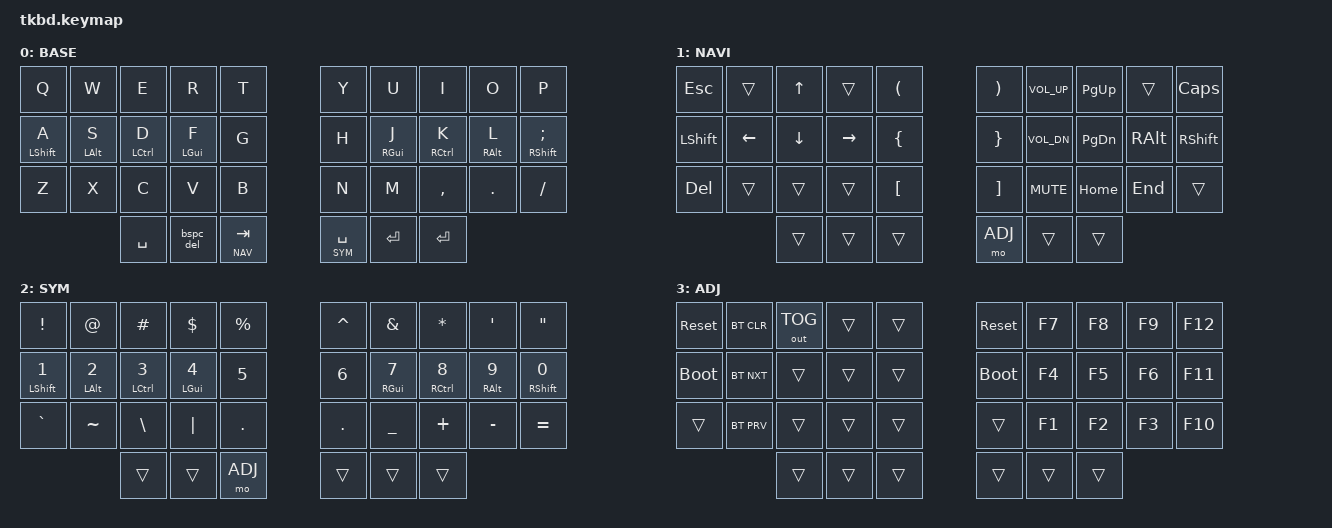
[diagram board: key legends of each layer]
#include <behaviors.dtsi>
#include <dt-bindings/zmk/keys.h>
#include <dt-bindings/zmk/bt.h>
#include <dt-bindings/zmk/outputs.h>

#define BASE 0
#define NAV  1
#define SYM  2
#define ADJ  3

&mt {
  flavor = "balanced";
};

/ {
    combos {
            compatible = "zmk,combos";
            combo_esc {
                timeout-ms = <50>;
                key-positions = <0 1>;
                bindings = <&kp ESC>;
            };
    };

    behaviors {
        bspc_del: backspace_delete {
            compatible = "zmk,behavior-mod-morph";
            #binding-cells = <0>;
            bindings = <&kp BACKSPACE>, <&kp DELETE>;
            mods = <(MOD_LSFT|MOD_RSFT)>;
        };
    };

        keymap {
                compatible = "zmk,keymap";
// ▄▄▄▄▄▄▄▄▄▄▄▄▄▄▄▄▄▄▄▄▄▄▄▄▄▄▄▄▄▄▄▄▄▄▄▄▄▄▄▄▄▄▄▄▄▄▄▄▄▄▄▄▄▄▄▄▄▄▄▄▄▄▄▄▄▄▄▄▄▄▄▄▄▄▄▄▄▄▄▄▄▄▄▄▄▄▄▄▄▄▄▄▄▄▄▄▄▄▄▄▄▄▄▄▄▄▄▄▄▄▄▄▄▄▄▄▄▄▄▄▄▄▄▄▄▄▄▄▄▄▄▄▄▄▄▄▄▄▄▄▄▄▄▄▄▄▄▄▄

                base_layer {
// ┏━━━━━━━━━━━━━━━━━━━━━━━━━━━━━━━━━━━━━━━┓
label= "BASE"                              ;
// ┗━━━━━━━━━━━━━━━━━━━━━━━━━━━━━━━━━━━━━━━┛
// ┏━━━━━━━━━━━┳━━━━━━━━━━━┳━━━━━━━━━━━┳━━━━━━━━━━━┳━━━━━━━━━━━┓   ┏━━━━━━━━━━━┳━━━━━━━━━━━┳━━━━━━━━━━━┳━━━━━━━━━━━┳━━━━━━━━━━━┓
// ┃     Q     ┃     W     ┃     E     ┃     R     ┃     T     ┃   ┃     Y     ┃     U     ┃     I     ┃     O     ┃     P     ┃
// ┣━━━━━━━━━━━╋━━━━━━━━━━━╋━━━━━━━━━━━╋━━━━━━━━━━━╋━━━━━━━━━━━┫   ┣━━━━━━━━━━━╋━━━━━━━━━━━╋━━━━━━━━━━━╋━━━━━━━━━━━╋━━━━━━━━━━━┫
// ┃     A     ┃     S     ┃     D     ┃     F     ┃     G     ┃   ┃     H     ┃     J     ┃     K     ┃     L     ┃     ;  :  ┃
// ┣━━━━━━━━━━━╋━━━━━━━━━━━╋━━━━━━━━━━━╋━━━━━━━━━━━╋━━━━━━━━━━━┫   ┣━━━━━━━━━━━╋━━━━━━━━━━━╋━━━━━━━━━━━╋━━━━━━━━━━━╋━━━━━━━━━━━┫
// ┃     Z     ┃     X     ┃     C     ┃     V     ┃     B     ┃   ┃     N     ┃     M     ┃     , <   ┃     . >   ┃     /  ?  ┃
// ┗━━━━━━━━━━━┻━━━━━━━━━━━╋━━━━━━━━━━━╋━━━━━━━━━━━╋━━━━━━━━━━━┫   ┣━━━━━━━━━━━╋━━━━━━━━━━━╋━━━━━━━━━━━╋━━━━━━━━━━━┻━━━━━━━━━━━┛
//                         ┃    SPC    ┃    BSPC   ┃    TAB    ┃   ┃    SPC    ┃   ENTER   ┃   ENTER   ┃
//                         ┗━━━━━━━━━━━┻━━━━━━━━━━━┻━━━━━━━━━━━┛   ┗━━━━━━━━━━━┻━━━━━━━━━━━┻━━━━━━━━━━━┛

 bindings = <
    &kp Q       &kp W       &kp E       &kp R       &kp T           &kp Y       &kp U       &kp I       &kp O       &kp P
    &mt LSHFT A &mt LALT S  &mt LCTRL D &mt LGUI F  &kp G           &kp H       &mt RGUI J  &mt RCTRL K &mt RALT L  &mt RSHFT SEMI
    &kp Z       &kp X       &kp C       &kp V       &kp B           &kp N       &kp M       &kp COMMA   &kp DOT     &kp FSLH   
                            &kp SPACE   &bspc_del   &lt NAV TAB   &lt SYM SPACE &kp RET     &kp RET
            >;
    };

// ▄▄▄▄▄▄▄▄▄▄▄▄▄▄▄▄▄▄▄▄▄▄▄▄▄▄▄▄▄▄▄▄▄▄▄▄▄▄▄▄▄▄▄▄▄▄▄▄▄▄▄▄▄▄▄▄▄▄▄▄▄▄▄▄▄▄▄▄▄▄▄▄▄▄▄▄▄▄▄▄▄▄▄▄▄▄▄▄▄▄▄▄▄▄▄▄▄▄▄▄▄▄▄▄▄▄▄▄▄▄▄▄▄▄▄▄▄▄▄▄▄▄▄▄▄▄▄▄▄▄▄▄▄▄▄▄▄▄▄▄▄▄▄▄▄▄▄▄▄


                nav_layer {
// ┏━━━━━━━━━━━━━━━━━━━━━━━━━━━━━━━━━━━━━━━┓
label= "NAVI"                              ;
// ┗━━━━━━━━━━━━━━━━━━━━━━━━━━━━━━━━━━━━━━━┛
// ┏━━━━━━━━━━━┳━━━━━━━━━━━┳━━━━━━━━━━━┳━━━━━━━━━━━┳━━━━━━━━━━━┓   ┏━━━━━━━━━━━┳━━━━━━━━━━━┳━━━━━━━━━━━┳━━━━━━━━━━━┳━━━━━━━━━━━┓
// ┃    ESC    ┃           ┃     UP    ┃           ┃     (     ┃   ┃     )     ┃   VOL+    ┃   P UP    ┃           ┃   C LOCK  ┃
// ┣━━━━━━━━━━━╋━━━━━━━━━━━╋━━━━━━━━━━━╋━━━━━━━━━━━╋━━━━━━━━━━━┫   ┣━━━━━━━━━━━╋━━━━━━━━━━━╋━━━━━━━━━━━╋━━━━━━━━━━━╋━━━━━━━━━━━┫
// ┃   SHIFT   ┃    LEFT   ┃    DOWN   ┃   RIGHT   ┃     {     ┃   ┃     }     ┃   VOL-    ┃  P DOWN   ┃    ALT    ┃   SHIFT   ┃
// ┣━━━━━━━━━━━╋━━━━━━━━━━━╋━━━━━━━━━━━╋━━━━━━━━━━━╋━━━━━━━━━━━┫   ┣━━━━━━━━━━━╋━━━━━━━━━━━╋━━━━━━━━━━━╋━━━━━━━━━━━╋━━━━━━━━━━━┫
// ┃    DEL    ┃           ┃           ┃           ┃     [     ┃   ┃     ]     ┃   MUTE    ┃   HOME    ┃    END    ┃           ┃
// ┗━━━━━━━━━━━┻━━━━━━━━━━━╋━━━━━━━━━━━╋━━━━━━━━━━━╋━━━━━━━━━━━┫   ┣━━━━━━━━━━━╋━━━━━━━━━━━╋━━━━━━━━━━━╋━━━━━━━━━━━┻━━━━━━━━━━━┛
//                         ┃    SPC    ┃   BSPC    ┃           ┃   ┃    ADJ    ┃           ┃           ┃
//                         ┗━━━━━━━━━━━┻━━━━━━━━━━━┻━━━━━━━━━━━┛   ┗━━━━━━━━━━━┻━━━━━━━━━━━┻━━━━━━━━━━━┛
 bindings = <
    &kp ESC     &trans      &kp UP      &trans      &kp LPAR        &kp RPAR   &kp C_VOL_UP &kp PG_UP   &trans      &kp CAPS
    &kp LSHFT   &kp LEFT    &kp DOWN    &kp RIGHT   &kp LBRC        &kp RBRC   &kp C_VOL_DN &kp PG_DN   &kp RALT    &kp RSHFT
    &kp DEL     &trans      &trans      &trans      &kp LBKT        &kp RBKT    &kp C_MUTE  &kp HOME    &kp END     &trans
                            &trans      &trans      &trans          &mo ADJ     &trans      &trans       
            >;
    };

// ▄▄▄▄▄▄▄▄▄▄▄▄▄▄▄▄▄▄▄▄▄▄▄▄▄▄▄▄▄▄▄▄▄▄▄▄▄▄▄▄▄▄▄▄▄▄▄▄▄▄▄▄▄▄▄▄▄▄▄▄▄▄▄▄▄▄▄▄▄▄▄▄▄▄▄▄▄▄▄▄▄▄▄▄▄▄▄▄▄▄▄▄▄▄▄▄▄▄▄▄▄▄▄▄▄▄▄▄▄▄▄▄▄▄▄▄▄▄▄▄▄▄▄▄▄▄▄▄▄▄▄▄▄▄▄▄▄▄▄▄▄▄▄▄▄▄▄▄▄


                sim_layer {
// ┏━━━━━━━━━━━━━━━━━━━━━━━━━━━━━━━━━━━━━━━┓
label= "SYM"                               ;
// ┗━━━━━━━━━━━━━━━━━━━━━━━━━━━━━━━━━━━━━━━┛
// ┏━━━━━━━━━━━┳━━━━━━━━━━━┳━━━━━━━━━━━┳━━━━━━━━━━━┳━━━━━━━━━━━┓   ┏━━━━━━━━━━━┳━━━━━━━━━━━┳━━━━━━━━━━━┳━━━━━━━━━━━┳━━━━━━━━━━━┓
// ┃     !     ┃     @     ┃     #     ┃     $     ┃     %     ┃   ┃     ˆ     ┃     &     ┃     *     ┃     '     ┃     "     ┃
// ┣━━━━━━━━━━━╋━━━━━━━━━━━╋━━━━━━━━━━━╋━━━━━━━━━━━╋━━━━━━━━━━━┫   ┣━━━━━━━━━━━╋━━━━━━━━━━━╋━━━━━━━━━━━╋━━━━━━━━━━━╋━━━━━━━━━━━┫
// ┃     1     ┃     2     ┃     3     ┃     4     ┃     5     ┃   ┃     6     ┃     7     ┃     8     ┃     9     ┃    0      ┃
// ┣━━━━━━━━━━━╋━━━━━━━━━━━╋━━━━━━━━━━━╋━━━━━━━━━━━╋━━━━━━━━━━━┫   ┣━━━━━━━━━━━╋━━━━━━━━━━━╋━━━━━━━━━━━╋━━━━━━━━━━━╋━━━━━━━━━━━┫
// ┃     `     ┃     ~     ┃    \      ┃     |     ┃    . >    ┃   ┃    . >    ┃     _     ┃     +     ┃     -     ┃    =      ┃
// ┗━━━━━━━━━━━┻━━━━━━━━━━━╋━━━━━━━━━━━╋━━━━━━━━━━━╋━━━━━━━━━━━┫   ┣━━━━━━━━━━━╋━━━━━━━━━━━╋━━━━━━━━━━━╋━━━━━━━━━━━┻━━━━━━━━━━━┛
//                         ┃           ┃           ┃    ADJ    ┃   ┃           ┃           ┃           ┃
//                         ┗━━━━━━━━━━━┻━━━━━━━━━━━┻━━━━━━━━━━━┛   ┗━━━━━━━━━━━┻━━━━━━━━━━━┻━━━━━━━━━━━┛
 bindings = <
// ╷           ╷           ╷           ╷           ╷           ╷   ╷           ╷           ╷           ╷           ╷           ╷

    &kp EXCL    &kp AT      &kp HASH    &kp DLLR    &kp PRCNT       &kp CARET   &kp AMPS    &kp ASTRK    &kp SQT     &kp DQT     
  &mt LSHFT N1 &mt LALT N2 &mt LCTRL N3 &mt LGUI N4 &kp N5          &kp N6      &mt RGUI N7 &mt RCTRL N8 &mt RALT N9 &mt RSHFT N0
    &kp GRAVE   &kp TILDE   &kp BSLH    &kp PIPE    &kp DOT         &kp DOT     &kp UNDER   &kp PLUS     &kp MINUS   &kp EQUAL     
                            &trans      &trans      &mo ADJ         &trans      &trans      &trans      
            >;
    };

// ▄▄▄▄▄▄▄▄▄▄▄▄▄▄▄▄▄▄▄▄▄▄▄▄▄▄▄▄▄▄▄▄▄▄▄▄▄▄▄▄▄▄▄▄▄▄▄▄▄▄▄▄▄▄▄▄▄▄▄▄▄▄▄▄▄▄▄▄▄▄▄▄▄▄▄▄▄▄▄▄▄▄▄▄▄▄▄▄▄▄▄▄▄▄▄▄▄▄▄▄▄▄▄▄▄▄▄▄▄▄▄▄▄▄▄▄▄▄▄▄▄▄▄▄▄▄▄▄▄▄▄▄▄▄▄▄▄▄▄▄▄▄▄▄▄▄▄▄▄


                adjust_layer {
// ┏━━━━━━━━━━━━━━━━━━━━━━━━━━━━━━━━━━━━━━━┓
label= "ADJ"                               ;
// ┗━━━━━━━━━━━━━━━━━━━━━━━━━━━━━━━━━━━━━━━┛
// ┏━━━━━━━━━━━┳━━━━━━━━━━━┳━━━━━━━━━━━┳━━━━━━━━━━━┳━━━━━━━━━━━┓   ┏━━━━━━━━━━━┳━━━━━━━━━━━┳━━━━━━━━━━━┳━━━━━━━━━━━┳━━━━━━━━━━━┓
// ┃   RESET   ┃ BT CLEAR  ┃  OUT TOG  ┃           ┃           ┃   ┃   RESET   ┃    F7     ┃    F8     ┃    F9     ┃    F12    ┃
// ┣━━━━━━━━━━━╋━━━━━━━━━━━╋━━━━━━━━━━━╋━━━━━━━━━━━╋━━━━━━━━━━━┫   ┣━━━━━━━━━━━╋━━━━━━━━━━━╋━━━━━━━━━━━╋━━━━━━━━━━━╋━━━━━━━━━━━┫
// ┃ BOOTLOAD  ┃ BT NEXT   ┃           ┃           ┃           ┃   ┃  BOOTLOAD ┃    F4     ┃    F5     ┃    F6     ┃    F11    ┃
// ┣━━━━━━━━━━━╋━━━━━━━━━━━╋━━━━━━━━━━━╋━━━━━━━━━━━╋━━━━━━━━━━━┫   ┣━━━━━━━━━━━╋━━━━━━━━━━━╋━━━━━━━━━━━╋━━━━━━━━━━━╋━━━━━━━━━━━┫
// ┃           ┃ BT PREV   ┃           ┃           ┃           ┃   ┃           ┃    F1     ┃    F2     ┃    F3     ┃    F10    ┃
// ┗━━━━━━━━━━━┻━━━━━━━━━━━╋━━━━━━━━━━━╋━━━━━━━━━━━╋━━━━━━━━━━━┫   ┣━━━━━━━━━━━╋━━━━━━━━━━━╋━━━━━━━━━━━╋━━━━━━━━━━━┻━━━━━━━━━━━┛
//                         ┃           ┃           ┃           ┃   ┃           ┃           ┃           ┃
//                         ┗━━━━━━━━━━━┻━━━━━━━━━━━┻━━━━━━━━━━━┛   ┗━━━━━━━━━━━┻━━━━━━━━━━━┻━━━━━━━━━━━┛
 bindings = <
// ╷           ╷           ╷           ╷           ╷           ╷   ╷           ╷           ╷           ╷           ╷       

    &sys_reset  &bt BT_CLR &out OUT_TOG &trans      &trans          &sys_reset  &kp F7      &kp F8      &kp F9      &kp F12
    &bootloader &bt BT_NXT  &trans      &trans      &trans          &bootloader &kp F4      &kp F5      &kp F6      &kp F11
    &trans      &bt BT_PRV  &trans      &trans      &trans          &trans      &kp F1      &kp F2      &kp F3      &kp F10
                            &trans      &trans      &trans          &trans      &trans      &trans      
            >;
    };
        };
};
